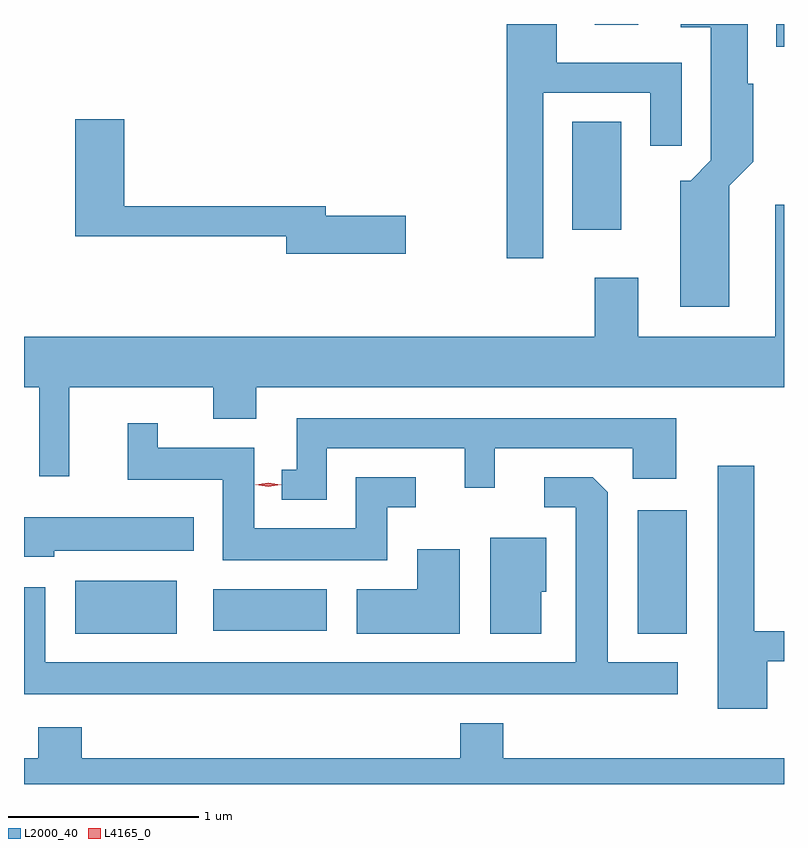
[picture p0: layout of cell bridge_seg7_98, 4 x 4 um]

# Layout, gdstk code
import gdstk
lib = gdstk.Library(unit=1e-6, precision=1e-09)
def R(c, l, rs):  # rectangles x0, y0, x1, y1
    for r in rs: c.add(gdstk.rectangle(r[:2], r[2:], *l))
def P(c, l, *ps):  # polygons
    for p in ps: c.add(gdstk.Polygon(p, *l))
L2000_40 = (2000, 40)
L4165_0 = (4165, 0)

bridge_seg7_98 = lib.new_cell('bridge_seg7_98')
R(bridge_seg7_98, L2000_40, [(1623.116,1744.101,1623.649,1744.379), (1626.076,1744.101,1626.334,1744.749), (1623.841,1744.116,1624.439,1744.334), (1625.731,1746.226,1625.989,1746.794), (1626.806,1747.188,1626.846,1747.309), (1625.851,1747.306,1626.079,1747.309)])
P(bridge_seg7_98, L2000_40, [(1626.559,1746.459),(1626.684,1746.584),(1626.684,1746.994),(1626.654,1746.994),(1626.654,1747.309),(1626.303,1747.309),(1626.303,1747.291),(1626.461,1747.291),(1626.461,1746.592),(1626.354,1746.484),(1626.301,1746.484),(1626.301,1745.821),(1626.559,1745.821)],
  [(1625.579,1746.946),(1626.141,1746.946),(1626.141,1746.668),(1626.309,1746.668),(1626.309,1747.104),(1625.649,1747.104),(1625.649,1747.309),(1625.386,1747.309),(1625.386,1746.076),(1625.579,1746.076)],
  [(1624.854,1746.299),(1624.434,1746.299),(1624.434,1746.349),(1623.374,1746.349),(1623.374,1746.809),(1623.116,1746.809),(1623.116,1746.191),(1624.226,1746.191),(1624.226,1746.101),(1624.854,1746.101)],
  [(1623.084,1745.396),(1623.841,1745.396),(1623.841,1745.231),(1624.069,1745.231),(1624.069,1745.396),(1626.846,1745.396),(1626.846,1746.359),(1626.801,1746.359),(1626.801,1745.664),(1626.079,1745.664),(1626.079,1745.974),(1625.851,1745.974),(1625.851,1745.664),(1622.846,1745.664),(1622.846,1745.396),(1622.926,1745.396),(1622.926,1744.928),(1623.084,1744.928)],
  [(1624.439,1745.076),(1625.166,1745.076),(1625.166,1744.868),(1625.324,1744.868),(1625.324,1745.076),(1626.051,1745.076),(1626.051,1744.916),(1626.279,1744.916),(1626.279,1745.234),(1624.281,1745.234),(1624.281,1744.964),(1624.203,1744.964),(1624.203,1744.806),(1624.439,1744.806)],
  [(1624.759,1744.766),(1624.908,1744.766),(1624.908,1744.924),(1624.591,1744.924),(1624.591,1744.654),(1624.059,1744.654),(1624.059,1745.079),(1623.549,1745.079),(1623.549,1745.208),(1623.391,1745.208),(1623.391,1744.911),(1623.891,1744.911),(1623.891,1744.486),(1624.759,1744.486)],
  [(1626.759,1743.956),(1626.846,1743.956),(1626.846,1744.114),(1626.689,1744.114),(1626.689,1744.984),(1626.496,1744.984),(1626.496,1743.706),(1626.759,1743.706)],
  [(1626.288,1743.949),(1625.919,1743.949),(1625.919,1744.844),(1625.839,1744.924),(1625.583,1744.924),(1625.583,1744.766),(1625.751,1744.766),(1625.751,1743.949),(1622.959,1743.949),(1622.959,1744.344),(1622.846,1744.344),(1622.846,1743.781),(1626.288,1743.781)],
  [(1623.004,1744.536),(1623.739,1744.536),(1623.739,1744.714),(1622.846,1744.714),(1622.846,1744.506),(1623.004,1744.506)],
  [(1625.569,1744.321),(1625.594,1744.321),(1625.594,1744.604),(1625.301,1744.604),(1625.301,1744.101),(1625.569,1744.101)],
  [(1625.139,1744.544),(1624.916,1744.544),(1624.916,1744.334),(1624.596,1744.334),(1624.596,1744.101),(1625.139,1744.101)],
  [(1626.846,1743.444),(1625.369,1743.444),(1625.369,1743.629),(1625.141,1743.629),(1625.141,1743.444),(1623.149,1743.444),(1623.149,1743.609),(1622.921,1743.609),(1622.921,1743.444),(1622.846,1743.444),(1622.846,1743.309),(1626.846,1743.309)])
P(bridge_seg7_98, L4165_0, [(1624.131,1744.874),(1624.062,1744.883),(1624.062,1744.884),(1624.062,1744.884),(1624.131,1744.894),(1624.201,1744.885),(1624.201,1744.884),(1624.201,1744.884)])

lib.write_gds('bridge_seg7_98.gds')
